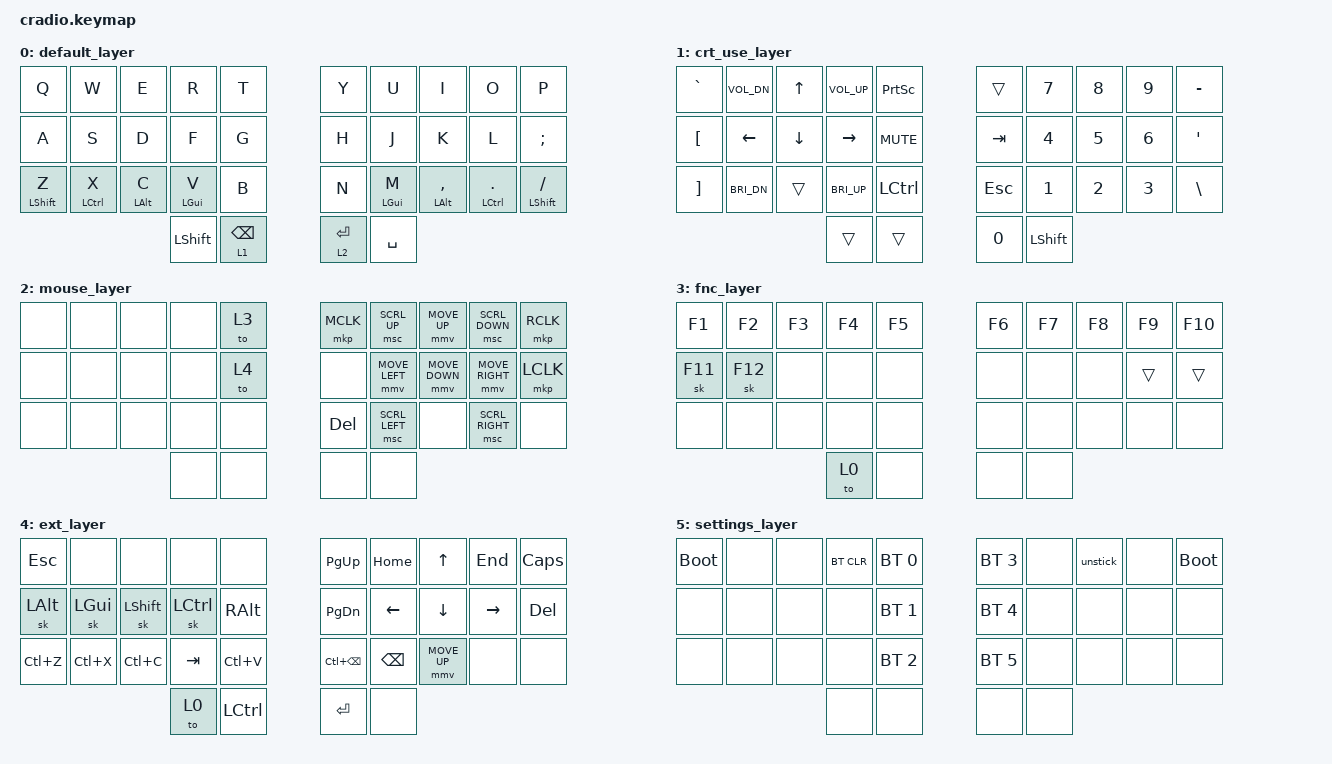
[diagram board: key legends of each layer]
/*
 * Copyright (c) 2020 The ZMK Contributors
 *
 * SPDX-License-Identifier: MIT
 */

#include "keymap_italian.h"
#include <behaviors.dtsi>
#include <dt-bindings/zmk/bt.h>
#include <dt-bindings/zmk/keys.h>
#include <dt-bindings/zmk/pointing.h>
#include <dt-bindings/zmk/pointing.h>
#include <dt-bindings/zmk/pointing.h>

#define ZMK_POINTING_DEFAULT_MOVE_VAL 1500  // default: 600
#define ZMK_POINTING_DEFAULT_SCRL_VAL 20    // default: 10

// Layer definitions

#define BASE 0
#define SYM 1
#define EXT 2
#define FNC 3
#define SYM2 4
#define ACCENT 5
#define SETTINGS 6

// -----------------

&mt {
    flavor = "tap-preferred";
    tapping_term_ms = <200>;
};

&sk { ignore-modifiers; };

/ {
    macros {
        // sometimes my device thinks a modifier is being held down
        // pressing all modifiers fixes it.

        unstick: unstick {
            label = "ZM_unstick";
            compatible = "zmk,behavior-macro";
            #binding-cells = <0>;
            bindings = <&kp LSHIFT &kp RSHIFT &kp LCTRL &kp RCTRL &kp LALT &kp RALT &kp LGUI &kp RGUI>;
        };
    };

    combos {
        compatible = "zmk,combos";

        // both right thumb keys
        // internal-left & external-right thumb keys
        // both left thumb keys

        combo_settings {
            timeout-ms = <300>;
            key-positions = <30 31>;
            bindings = <&mo 5>;
        };

        crt_sym_1 {
            bindings = <&kp EQUAL>;
            key-positions = <16 17>;
            layers = <0>;
        };

        crt_sym_2 {
            bindings = <&kp LEFT_PARENTHESIS>;
            key-positions = <11 13>;
            layers = <0>;
        };

        crt_sym_3 {
            bindings = <&kp RIGHT_PARENTHESIS>;
            key-positions = <12 13>;
            layers = <0>;
        };

        crt_sym_4 {
            bindings = <&kp LEFT_BRACE>;
            key-positions = <11 14>;
            layers = <0>;
        };

        crt_sym_5 {
            bindings = <&kp RIGHT_BRACE>;
            key-positions = <12 14>;
            layers = <0>;
        };

        close_window {
            bindings = <&kp LA(F4)>;
            key-positions = <11 12 13>;
            layers = <0>;
        };

        escape {
            bindings = <&kp ESC>;
            key-positions = <32 33>;
            layers = <0>;
        };
    };

    keymap {
        compatible = "zmk,keymap";

        // Base alpha layer

        default_layer {
            bindings = <
&kp Q             &kp W        &kp E           &kp R           &kp T              &kp Y        &kp U           &kp I               &kp O             &kp P
&kp A             &kp S        &kp D           &kp F           &kp G              &kp H        &kp J           &kp K               &kp L             &kp SEMI
&mt LEFT_SHIFT Z  &mt LCTRL X  &mt LEFT_ALT C  &mt LEFT_GUI V  &kp B              &kp N        &mt LEFT_GUI M  &mt LEFT_ALT COMMA  &mt LCTRL PERIOD  &mt LEFT_SHIFT SLASH
                                               &kp LEFT_SHIFT  &lt 1 BACKSPACE    &lt 2 ENTER  &kp SPACE
            >;
        };

        crt_use_layer {
            bindings = <
&kp GRAVE  &kp C_VOL_DN  &kp UP    &kp C_VOL_UP  &kp PRINTSCREEN    &trans        &kp N7          &kp N8  &kp N9  &kp MINUS
&kp LBKT   &kp LEFT      &kp DOWN  &kp RIGHT     &kp C_MUTE         &kp TAB       &kp N4          &kp N5  &kp N6  &kp APOS
&kp RBKT   &kp C_BRI_DN  &trans    &kp C_BRI_UP  &kp LCTRL          &kp ESCAPE    &kp N1          &kp N2  &kp N3  &kp BSLH
                                   &trans        &trans             &kp NUMBER_0  &kp LEFT_SHIFT
            >;
        };

        mouse_layer {
            bindings = <
&none  &none  &none  &none  &to 3    &mkp MCLK  &msc SCRL_UP    &mmv MOVE_UP    &msc SCRL_DOWN   &mkp RCLK
&none  &none  &none  &none  &to 4    &none      &mmv MOVE_LEFT  &mmv MOVE_DOWN  &mmv MOVE_RIGHT  &mkp LCLK
&none  &none  &none  &none  &none    &kp DEL    &msc SCRL_LEFT  &none           &msc SCRL_RIGHT  &none
                     &none  &none    &none      &none
            >;
        };

        fnc_layer {
            bindings = <
&kp F1   &kp F2   &kp F3  &kp F4  &kp F5    &kp F6  &kp F7  &kp F8  &kp F9  &kp F10
&sk F11  &sk F12  &none   &none   &none     &none   &none   &none   &trans  &trans
&none    &none    &none   &none   &none     &none   &none   &none   &none   &none
                          &to 0   &none     &none   &none
            >;
        };

        ext_layer {
            bindings = <
&kp ESC    &none      &none       &none      &none        &kp PG_UP     &kp HOME  &kp UP        &kp END    &kp CAPS
&sk LALT   &sk LGUI   &sk LSHIFT  &sk LCTRL  &kp RALT     &kp PG_DN     &kp LEFT  &kp DOWN      &kp RIGHT  &kp DEL
&kp LC(Z)  &kp LC(X)  &kp LC(C)   &kp TAB    &kp LC(V)    &kp LC(BSPC)  &kp BSPC  &mmv MOVE_UP  &none      &none
                                  &to 0      &kp LCTRL    &kp ENTER     &none
            >;
        };

        settings_layer {
            bindings = <
&bootloader  &none  &none  &bt BT_CLR  &bt BT_SEL 0    &bt BT_SEL 3  &none  &unstick  &none  &bootloader
&none        &none  &none  &none       &bt BT_SEL 1    &bt BT_SEL 4  &none  &none     &none  &none
&none        &none  &none  &none       &bt BT_SEL 2    &bt BT_SEL 5  &none  &none     &none  &none
                           &none       &none           &none         &none
            >;
        };
    };
};
